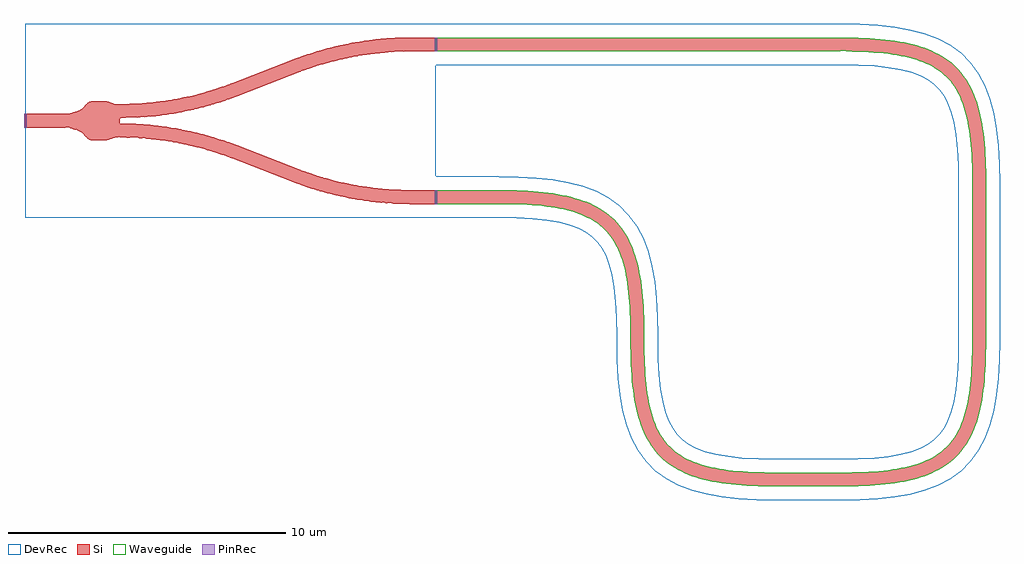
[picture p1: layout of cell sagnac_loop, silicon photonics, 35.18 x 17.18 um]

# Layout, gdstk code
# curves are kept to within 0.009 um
import gdstk
lib = gdstk.Library(unit=1e-6, precision=1e-09)
def R(c, l, rs):  # rectangles x0, y0, x1, y1
    for r in rs: c.add(gdstk.rectangle(r[:2], r[2:], *l))
def P(c, l, *ps):  # polygons
    for p in ps: c.add(gdstk.Polygon(p, *l))
Si = (1, 0)
PinRec = (1, 10)
Waveguide = (1, 99)
DevRec = (68, 0)

waveguide_14 = lib.new_cell('Waveguide$14')
P(waveguide_14, Si, [(15.337,49.59),(14.488,49.608),(13.726,49.664),(13.047,49.766),(12.736,49.835),(12.446,49.918),(12.172,50.016),(11.917,50.13),(11.679,50.26),(11.459,50.408),(11.163,50.663),(10.988,50.857),(10.83,51.069),(10.629,51.418),(10.464,51.808),(10.297,52.391),(10.208,52.877),(10.145,53.409),(10.107,53.989),(10.08,55.652),(10.051,56.227),(9.977,56.91),(9.894,57.362),(9.745,57.885),(9.653,58.114),(9.549,58.324),(9.433,58.514),(9.305,58.688),(9.163,58.843),(9.007,58.986),(8.833,59.114),(8.643,59.23),(8.433,59.334),(8.204,59.426),(7.681,59.575),(7.068,59.68),(6.546,59.732),(5.767,59.766),(3.08,59.77),(3.08,60.27),(5.987,60.261),(6.771,60.215),(7.47,60.125),(7.789,60.063),(8.233,59.943),(8.507,59.845),(8.762,59.731),(9,59.601),(9.22,59.453),(9.422,59.287),(9.606,59.103),(9.849,58.792),(9.987,58.564),(10.109,58.318),(10.215,58.053),(10.305,57.771),(10.382,57.47),(10.444,57.151),(10.516,56.634),(10.562,56.07),(10.585,55.458),(10.599,54.209),(10.628,53.634),(10.702,52.951),(10.785,52.499),(10.854,52.228),(10.934,51.976),(11.026,51.747),(11.13,51.537),(11.246,51.347),(11.374,51.173),(11.593,50.944),(11.757,50.81),(11.939,50.688),(12.139,50.578),(12.358,50.48),(12.86,50.319),(13.45,50.203),(13.954,50.144),(14.318,50.118),(15.34,50.09),(18.291,50.099),(19.045,50.143),(19.549,50.202),(19.856,50.255),(20.139,50.318),(20.524,50.434),(20.753,50.526),(20.963,50.63),(21.153,50.746),(21.327,50.874),(21.483,51.017),(21.625,51.172),(21.753,51.346),(21.869,51.536),(21.973,51.746),(22.065,51.975),(22.214,52.498),(22.319,53.111),(22.382,53.818),(22.41,54.84),(22.41,60.52),(22.383,61.541),(22.357,61.905),(22.298,62.409),(22.182,62.999),(22.066,63.384),(21.974,63.613),(21.87,63.823),(21.691,64.102),(21.557,64.266),(21.328,64.485),(21.061,64.672),(20.754,64.833),(20.402,64.966),(20.002,65.074),(19.55,65.157),(19.046,65.216),(18.292,65.26),(17.66,65.27),(3.08,65.27),(3.08,65.77),(17.663,65.77),(18.308,65.76),(18.903,65.729),(19.451,65.675),(19.953,65.594),(20.411,65.485),(20.828,65.344),(21.204,65.167),(21.541,64.952),(21.837,64.697),(22.093,64.4),(22.241,64.18),(22.43,63.817),(22.536,63.552),(22.666,63.123),(22.765,62.65),(22.816,62.31),(22.87,61.762),(22.901,61.167),(22.91,54.837),(22.892,53.988),(22.836,53.226),(22.734,52.547),(22.665,52.236),(22.582,51.946),(22.429,51.542),(22.24,51.179),(22.092,50.959),(21.837,50.663),(21.643,50.488),(21.431,50.33),(21.082,50.129),(20.827,50.015),(20.41,49.874),(20.109,49.797),(19.623,49.708),(19.273,49.663),(18.709,49.617),(17.881,49.591)])
P(waveguide_14, Waveguide, [(15.337,49.59),(14.488,49.608),(13.726,49.664),(13.047,49.766),(12.736,49.835),(12.446,49.918),(12.172,50.016),(11.917,50.13),(11.679,50.26),(11.459,50.408),(11.163,50.663),(10.988,50.857),(10.83,51.069),(10.629,51.418),(10.464,51.808),(10.297,52.391),(10.208,52.877),(10.145,53.409),(10.107,53.989),(10.08,55.652),(10.051,56.227),(9.977,56.91),(9.894,57.362),(9.745,57.885),(9.653,58.114),(9.549,58.324),(9.433,58.514),(9.305,58.688),(9.163,58.843),(9.007,58.986),(8.833,59.114),(8.643,59.23),(8.433,59.334),(8.204,59.426),(7.681,59.575),(7.068,59.68),(6.546,59.732),(5.767,59.766),(3.08,59.77),(3.08,60.27),(5.987,60.261),(6.771,60.215),(7.47,60.125),(7.789,60.063),(8.233,59.943),(8.507,59.845),(8.762,59.731),(9,59.601),(9.22,59.453),(9.422,59.287),(9.606,59.103),(9.849,58.792),(9.987,58.564),(10.109,58.318),(10.215,58.053),(10.305,57.771),(10.382,57.47),(10.444,57.151),(10.516,56.634),(10.562,56.07),(10.585,55.458),(10.599,54.209),(10.628,53.634),(10.702,52.951),(10.785,52.499),(10.854,52.228),(10.934,51.976),(11.026,51.747),(11.13,51.537),(11.246,51.347),(11.374,51.173),(11.593,50.944),(11.757,50.81),(11.939,50.688),(12.139,50.578),(12.358,50.48),(12.86,50.319),(13.45,50.203),(13.954,50.144),(14.318,50.118),(15.34,50.09),(18.291,50.099),(19.045,50.143),(19.549,50.202),(19.856,50.255),(20.139,50.318),(20.524,50.434),(20.753,50.526),(20.963,50.63),(21.153,50.746),(21.327,50.874),(21.483,51.017),(21.625,51.172),(21.753,51.346),(21.869,51.536),(21.973,51.746),(22.065,51.975),(22.214,52.498),(22.319,53.111),(22.382,53.818),(22.41,54.84),(22.41,60.52),(22.383,61.541),(22.357,61.905),(22.298,62.409),(22.182,62.999),(22.066,63.384),(21.974,63.613),(21.87,63.823),(21.691,64.102),(21.557,64.266),(21.328,64.485),(21.061,64.672),(20.754,64.833),(20.402,64.966),(20.002,65.074),(19.55,65.157),(19.046,65.216),(18.292,65.26),(17.66,65.27),(3.08,65.27),(3.08,65.77),(17.663,65.77),(18.308,65.76),(18.903,65.729),(19.451,65.675),(19.953,65.594),(20.411,65.485),(20.828,65.344),(21.204,65.167),(21.541,64.952),(21.837,64.697),(22.093,64.4),(22.241,64.18),(22.43,63.817),(22.536,63.552),(22.666,63.123),(22.765,62.65),(22.816,62.31),(22.87,61.762),(22.901,61.167),(22.91,54.837),(22.892,53.988),(22.836,53.226),(22.734,52.547),(22.665,52.236),(22.582,51.946),(22.429,51.542),(22.24,51.179),(22.092,50.959),(21.837,50.663),(21.643,50.488),(21.431,50.33),(21.082,50.129),(20.827,50.015),(20.41,49.874),(20.109,49.797),(19.623,49.708),(19.273,49.663),(18.709,49.617),(17.881,49.591)])
P(waveguide_14, DevRec, [(15.327,49.09),(14.638,49.101),(13.989,49.137),(13.387,49.202),(12.83,49.3),(12.312,49.436),(11.83,49.618),(11.389,49.852),(10.99,50.143),(10.642,50.491),(10.351,50.89),(10.117,51.331),(9.935,51.813),(9.799,52.331),(9.701,52.888),(9.636,53.49),(9.6,54.139),(9.579,55.67),(9.547,56.251),(9.492,56.765),(9.414,57.214),(9.314,57.596),(9.194,57.916),(9.054,58.179),(8.897,58.396),(8.715,58.578),(8.498,58.735),(8.235,58.875),(7.915,58.995),(7.533,59.095),(7.084,59.173),(6.57,59.228),(5.989,59.26),(3.08,59.27),(3.08,60.77),(6.041,60.76),(6.69,60.724),(7.292,60.659),(7.849,60.561),(8.367,60.425),(8.849,60.243),(9.29,60.009),(9.689,59.718),(10.037,59.37),(10.328,58.971),(10.562,58.53),(10.744,58.048),(10.88,57.53),(10.978,56.973),(11.043,56.371),(11.079,55.722),(11.1,54.191),(11.132,53.61),(11.187,53.096),(11.265,52.647),(11.365,52.265),(11.485,51.945),(11.625,51.682),(11.782,51.465),(11.964,51.283),(12.181,51.126),(12.444,50.986),(12.764,50.866),(13.146,50.766),(13.595,50.688),(14.109,50.633),(14.69,50.601),(15.34,50.59),(17.657,50.59),(18.309,50.6),(18.89,50.632),(19.404,50.687),(19.853,50.765),(20.235,50.865),(20.555,50.985),(20.818,51.125),(21.035,51.282),(21.217,51.464),(21.374,51.681),(21.514,51.944),(21.634,52.264),(21.734,52.646),(21.812,53.095),(21.867,53.609),(21.899,54.19),(21.91,54.84),(21.9,61.169),(21.868,61.75),(21.813,62.264),(21.735,62.713),(21.635,63.095),(21.515,63.415),(21.375,63.678),(21.218,63.895),(21.036,64.077),(20.819,64.234),(20.556,64.374),(20.236,64.494),(19.854,64.594),(19.405,64.672),(18.891,64.727),(18.31,64.759),(17.66,64.77),(3.08,64.77),(3.08,66.27),(17.673,66.27),(18.362,66.259),(19.011,66.223),(19.613,66.158),(20.17,66.06),(20.688,65.924),(21.17,65.742),(21.611,65.508),(22.01,65.217),(22.358,64.869),(22.649,64.47),(22.883,64.029),(23.065,63.547),(23.201,63.029),(23.299,62.472),(23.364,61.87),(23.4,61.221),(23.41,54.827),(23.399,54.138),(23.363,53.489),(23.298,52.887),(23.2,52.33),(23.064,51.812),(22.882,51.33),(22.648,50.889),(22.357,50.49),(22.009,50.142),(21.61,49.851),(21.169,49.617),(20.687,49.435),(20.169,49.299),(19.612,49.201),(19.01,49.136),(18.361,49.1),(17.663,49.09)])
waveguide_14.add(gdstk.FlexPath([(3.09,60.02),(3.07,60.02)], 0.5, ends="flush", simple_path=True, layer=1, datatype=10))  # PinRec
waveguide_14.add(gdstk.FlexPath([(3.09,65.52),(3.07,65.52)], 0.5, ends="flush", simple_path=True, layer=1, datatype=10))  # PinRec
waveguide_14.add(gdstk.Label('opt2', (3.08,65.52), layer=1, texttype=10))
waveguide_14.add(gdstk.Label('opt1', (3.08,60.02), layer=1, texttype=10))
waveguide_14.add(gdstk.Label('Length=58.813 (microns)', (3.08,59.42), layer=68, texttype=0))
waveguide_14.add(gdstk.Label('Spice_param:wg_length=0.000058813 wg_width=5e-07 points="[[3.08,60.02],[10.34,60.02],[10.34,49.84],[22.66,49.84],[22.66,65.52],[8.33,65.52],[3.08,65.52]]" radius=5e-06', (3.08,60.02), layer=68, texttype=0))
waveguide_14.add(gdstk.Label('waveguide_type=Strip TE 1550 nm, w=500 nm', (3.08,59.82), layer=68, texttype=0))
waveguide_14.add(gdstk.Label('cellName=Waveguide', (3.08,60.22), layer=68, texttype=0))
waveguide_14.add(gdstk.Label('Component=ebeam_wg_integral_1550', (3.08,60.12), layer=68, texttype=0))
waveguide_14.add(gdstk.Label('Lumerical_INTERCONNECT_library=Design kits/EBeam', (3.08,59.92), layer=68, texttype=0))

ebeam_y_1550 = lib.new_cell('ebeam_y_1550')
R(ebeam_y_1550, Si, [(6.5,-3,7.4,-2.5), (-7.4,-0.25,-6,0.25), (6.5,2.5,7.4,3)])
P(ebeam_y_1550, Si, [(6.458,-3),(6.237,-2.997),(6.237,-2.497),(6.5,-2.5),(6.5,-3)],
  [(2.265,-2.21),(0.055,-1.356),(0.235,-0.89),(2.445,-1.744)],
  [(5.033,-2.908),(4.288,-2.79),(3.59,-2.634),(2.922,-2.442),(2.265,-2.21),(2.445,-1.744),(3.075,-1.966),(3.731,-2.154),(4.372,-2.297),(5.033,-2.404)],
  [(-0.762,0.555),(-0.762,1.076),(0.055,1.356),(0.235,0.89),(-0.263,0.71)],
  [(-5.122,-0.662),(-5.179,-0.619),(-5.344,-0.44),(-5.442,-0.374),(-5.808,-0.255),(-6,-0.25),(-6,0.25),(-5.817,0.253),(-5.442,0.374),(-5.344,0.44),(-5.204,0.594),(-5.122,0.662)],
  [(-4.957,-0.703),(-5.047,-0.692),(-5.122,-0.662),(-5.122,0.662),(-4.978,0.702),(-4.538,0.703),(-4.424,0.685),(-4.167,0.6),(-4,0.6),(-4,-0.6),(-4.167,-0.6),(-4.509,-0.701)],
  [(0.055,-1.356),(-0.762,-1.076),(-0.762,-0.555),(-0.263,-0.71),(0.235,-0.89)],
  [(6.237,2.497),(6.237,2.997),(6.5,3),(6.5,2.5)],
  [(-0.762,-1.076),(-1.532,-0.874),(-2.334,-0.724),(-3.178,-0.63),(-4,-0.6),(-4,-0.1),(-3.16,-0.13),(-2.381,-0.212),(-1.565,-0.355),(-0.762,-0.555)],
  [(5.033,2.404),(5.033,2.908),(5.619,2.967),(6.237,2.997),(6.237,2.497),(5.625,2.466)],
  [(6.233,-2.997),(5.619,-2.967),(5.033,-2.908),(5.033,-2.404),(5.625,-2.466),(6.237,-2.497)],
  [(0.235,0.89),(0.055,1.356),(2.265,2.21),(2.445,1.744)],
  [(2.445,1.744),(2.267,2.211),(2.922,2.442),(3.59,2.634),(4.288,2.79),(5.033,2.908),(5.033,2.404),(4.372,2.297),(3.731,2.154),(3.075,1.966)],
  [(-4,0.1),(-4,0.6),(-3.178,0.63),(-2.334,0.724),(-1.532,0.874),(-0.762,1.076),(-0.762,0.555),(-1.565,0.355),(-2.381,0.212),(-3.16,0.13)])
R(ebeam_y_1550, DevRec, [(-7.4,-3.5,7.4,3.5)])
ebeam_y_1550.add(gdstk.FlexPath([(7.35,-2.75),(7.45,-2.75)], 0.5, ends="flush", simple_path=True, layer=1, datatype=10))  # PinRec
ebeam_y_1550.add(gdstk.FlexPath([(7.35,2.75),(7.45,2.75)], 0.5, ends="flush", simple_path=True, layer=1, datatype=10))  # PinRec
ebeam_y_1550.add(gdstk.FlexPath([(-7.35,0),(-7.45,0)], 0.5, ends="flush", simple_path=True, layer=1, datatype=10))  # PinRec
ebeam_y_1550.add(gdstk.Label('opt1', (-7.4,0), layer=1, texttype=10))
ebeam_y_1550.add(gdstk.Label('opt3', (7.4,-2.75), layer=1, texttype=10))
ebeam_y_1550.add(gdstk.Label('opt2', (7.4,2.75), layer=1, texttype=10))
ebeam_y_1550.add(gdstk.Label('Lumerical_INTERCONNECT_library=Design kits/ebeam', (-6.86,-2.19), layer=68, texttype=0))
ebeam_y_1550.add(gdstk.Label('Component=ebeam_y_1550', (-6,1.5), layer=68, texttype=0))
ebeam_y_1550.add(gdstk.Label('Ref: Y Zhang, Opt. Express, 21/1, 2013', (-7.5,-1), layer=10, texttype=0))

sagnac_loop = lib.new_cell('sagnac_loop')
sagnac_loop.add(gdstk.Reference(waveguide_14, (11.82,-55.67)))
sagnac_loop.add(gdstk.Reference(ebeam_y_1550, (7.5,7.1)))

lib.write_gds('sagnac_loop.gds')
